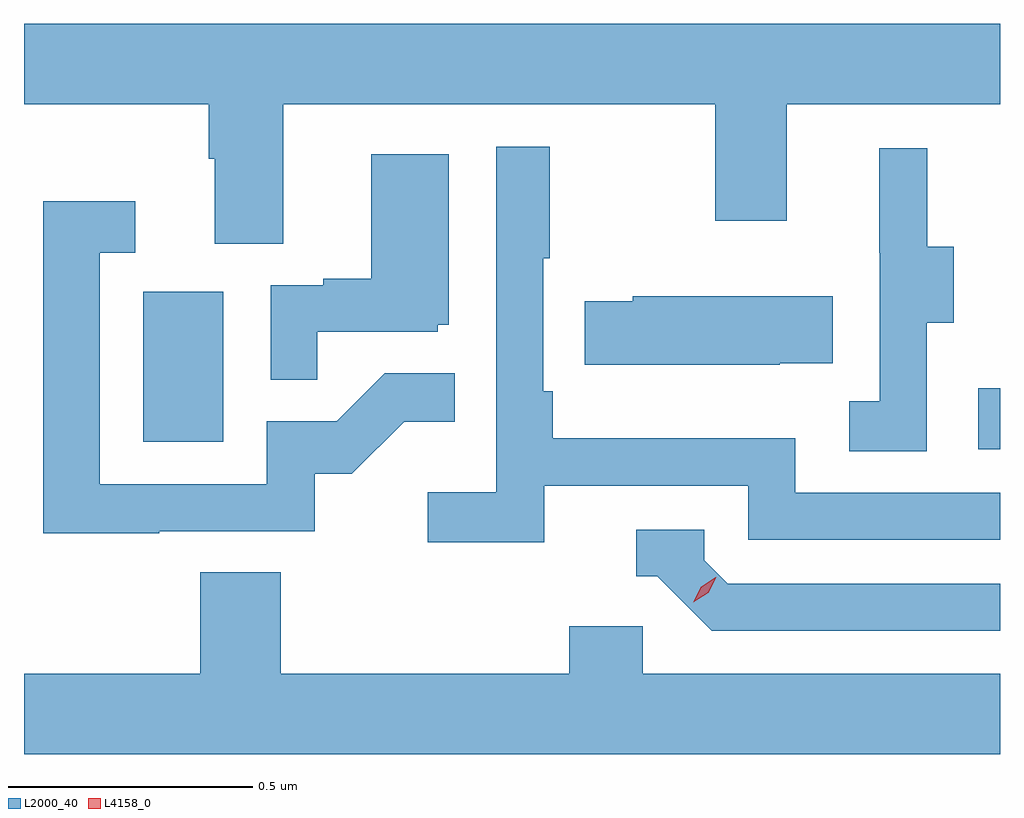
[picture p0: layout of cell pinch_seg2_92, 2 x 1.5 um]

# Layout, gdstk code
import gdstk
lib = gdstk.Library(unit=1e-6, precision=1e-09)
def R(c, l, rs):  # rectangles x0, y0, x1, y1
    for r in rs: c.add(gdstk.rectangle(r[:2], r[2:], *l))
def P(c, l, *ps):  # polygons
    for p in ps: c.add(gdstk.Polygon(p, *l))
L2000_40 = (2000, 40)
L4158_0 = (4158, 0)

pinch_seg2_92 = lib.new_cell('pinch_seg2_92')
R(pinch_seg2_92, L2000_40, [(1054.809,653.589,1054.854,653.714), (1053.098,653.604,1053.262,653.911)])
P(pinch_seg2_92, L2000_40, [(1053.385,654.296),(1054.27,654.296),(1054.27,654.057),(1054.417,654.057),(1054.417,654.296),(1054.854,654.296),(1054.854,654.46),(1052.854,654.46),(1052.854,654.296),(1053.233,654.296),(1053.233,654.184),(1053.245,654.184),(1053.245,654.01),(1053.385,654.01)],
  [(1053.92,653.514),(1054.338,653.514),(1054.338,653.403),(1054.854,653.403),(1054.854,653.499),(1054.434,653.499),(1054.434,653.611),(1053.938,653.611),(1053.938,653.707),(1053.918,653.707),(1053.918,653.98),(1053.931,653.98),(1053.931,654.208),(1053.822,654.208),(1053.822,653.5),(1053.681,653.5),(1053.681,653.398),(1053.92,653.398)],
  [(1054.704,653.848),(1054.759,653.848),(1054.759,654.003),(1054.705,654.003),(1054.705,654.205),(1054.607,654.205),(1054.607,653.991),(1054.608,653.991),(1054.608,653.687),(1054.545,653.687),(1054.545,653.584),(1054.704,653.584)],
  [(1053.455,653.829),(1053.702,653.829),(1053.702,653.844),(1053.724,653.844),(1053.724,654.193),(1053.566,654.193),(1053.566,653.938),(1053.467,653.938),(1053.467,653.925),(1053.36,653.925),(1053.36,653.731),(1053.455,653.731)],
  [(1053.131,653.421),(1053.45,653.421),(1053.45,653.538),(1053.526,653.538),(1053.633,653.645),(1053.737,653.645),(1053.737,653.744),(1053.593,653.744),(1053.495,653.646),(1053.351,653.646),(1053.351,653.517),(1053.009,653.517),(1053.009,653.991),(1053.082,653.991),(1053.082,654.097),(1052.893,654.097),(1052.893,653.416),(1053.131,653.416)],
  [(1054.403,653.765),(1054.511,653.765),(1054.511,653.902),(1054.101,653.902),(1054.101,653.892),(1054.003,653.892),(1054.003,653.762),(1054.403,653.762)],
  [(1054.854,653.313),(1054.296,653.313),(1054.248,653.361),(1054.248,653.424),(1054.109,653.424),(1054.109,653.328),(1054.152,653.328),(1054.263,653.217),(1054.854,653.217)],
  [(1054.854,653.128),(1054.122,653.128),(1054.122,653.226),(1053.971,653.226),(1053.971,653.128),(1053.38,653.128),(1053.38,653.336),(1053.215,653.336),(1053.215,653.128),(1052.854,653.128),(1052.854,652.964),(1054.854,652.964)])
P(pinch_seg2_92, L4158_0, [(1054.225,653.275),(1054.225,653.275),(1054.242,653.307),(1054.272,653.326),(1054.273,653.326),(1054.273,653.326),(1054.256,653.294),(1054.225,653.275)])

lib.write_gds('pinch_seg2_92.gds')
